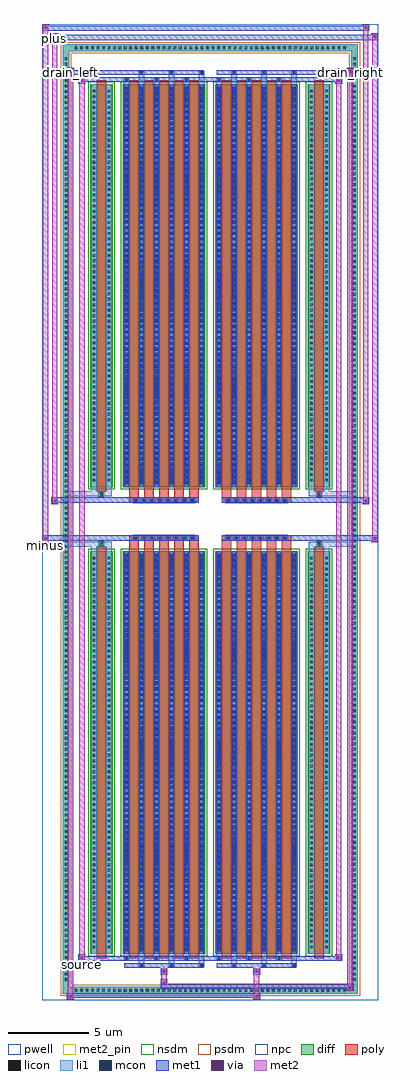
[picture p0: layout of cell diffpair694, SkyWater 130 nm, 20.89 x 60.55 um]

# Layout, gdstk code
import gdstk
lib = gdstk.Library(unit=1e-6, precision=5e-09)
def R(c, l, rs):  # rectangles x0, y0, x1, y1
    for r in rs: c.add(gdstk.rectangle(r[:2], r[2:], *l))
def A(c, l, x, y, w, h, nx, ny, dx, dy):  # array of equal rectangles
    R(c, l, [(x+i*dx, y+j*dy, x+i*dx+w, y+j*dy+h) for i in range(nx) for j in range(ny)])
def P(c, l, *ps):  # polygons
    for p in ps: c.add(gdstk.Polygon(p, *l))
pwell = (64, 44)
diff = (65, 20)
poly = (66, 20)
licon = (66, 44)
li1 = (67, 20)
mcon = (67, 44)
met1 = (68, 20)
via = (68, 44)
met2_pin = (69, 16)
met2 = (69, 20)
nsdm = (93, 44)
psdm = (94, 20)
npc = (95, 20)

diffpair694 = lib.new_cell('diffpair694')
R(diffpair694, pwell, [(-10.43,-29.84,10.43,30.71), (-7.75,-28.03,-0.01,-0.805), (0.01,-28.03,7.75,-0.805), (-7.75,0.805,-0.01,28.03), (0.01,0.805,7.75,28.03)])
A(diffpair694, diff, -8.535, -29.44, 0.41, 0.41, 50, 2, 0.34, 58.47)
A(diffpair694, diff, -9.16, -28.765, 0.41, 0.41, 1, 169, 0, 0.34)
A(diffpair694, diff, 8.75, -28.765, 0.41, 0.41, 1, 169, 0, 0.34)
R(diffpair694, diff, [(-8.535,-29.44,8.535,-29.03), (-9.16,-28.765,-8.75,28.765), (8.75,-28.765,9.16,28.765), (-7.44,-26.985,-6.06,-1.985), (-5.42,-26.985,-0.32,-1.985), (0.32,-26.985,5.42,-1.985), (6.06,-26.985,7.44,-1.985), (-7.44,1.985,-6.06,26.985), (-5.42,1.985,-0.32,26.985), (0.32,1.985,5.42,26.985), (6.06,1.985,7.44,26.985), (-8.535,29.03,8.535,29.44)])
P(diffpair694, diff, [(9.16,29.44),(-9.16,29.44),(-9.16,-29.03),(-8.75,-29.03),(-8.75,29.03),(8.75,29.03),(8.75,-29.03),(-8.75,-29.03),(-9.16,-29.03),(-9.16,-29.44),(9.16,-29.44)])
A(diffpair694, poly, -5.03, -27.235, 0.6, 25.5, 5, 2, 0.93, 28.97)
A(diffpair694, poly, 0.71, -27.235, 0.6, 25.5, 5, 2, 0.93, 28.97)
A(diffpair694, poly, -5.03, -1.735, 0.6, 0.4, 5, 2, 0.93, 3.07)
A(diffpair694, poly, 0.71, -1.735, 0.6, 0.4, 5, 2, 0.93, 3.07)
A(diffpair694, poly, -4.785, -1.335, 0.33, 0.33, 8, 2, 0.5, 2.34)
A(diffpair694, poly, 0.955, -1.335, 0.33, 0.33, 8, 2, 0.5, 2.34)
R(diffpair694, poly, [(-7.05,-27.235,-6.45,-1.735), (6.45,-27.235,7.05,-1.735), (-6.915,-1.735,-6.585,-1.405), (-6.915,-1.735,-6.585,-1.405), (6.585,-1.735,6.915,-1.405), (6.585,-1.735,6.915,-1.405), (-5.03,-1.335,-0.71,-1.005), (0.71,-1.335,5.03,-1.005), (-5.03,1.005,-0.71,1.335), (0.71,1.005,5.03,1.335), (-6.915,1.405,-6.585,1.735), (-6.915,1.405,-6.585,1.735), (6.585,1.405,6.915,1.735), (6.585,1.405,6.915,1.735), (-7.05,1.735,-6.45,27.235), (6.45,1.735,7.05,27.235)])
A(diffpair694, licon, -8.415, -29.32, 0.17, 0.17, 50, 2, 0.34, 58.47)
A(diffpair694, licon, -9.04, -28.645, 0.17, 0.17, 1, 169, 0, 0.34)
A(diffpair694, licon, 8.87, -28.645, 0.17, 0.17, 1, 169, 0, 0.34)
A(diffpair694, licon, -7.3, -26.64, 0.17, 0.17, 1, 72, 0, 0.34)
A(diffpair694, licon, -6.37, -26.64, 0.17, 0.17, 1, 72, 0, 0.34)
A(diffpair694, licon, -5.28, -26.64, 0.17, 0.17, 6, 72, 0.93, 0.34)
A(diffpair694, licon, 0.46, -26.64, 0.17, 0.17, 6, 72, 0.93, 0.34)
A(diffpair694, licon, 6.2, -26.64, 0.17, 0.17, 1, 72, 0, 0.34)
A(diffpair694, licon, 7.13, -26.64, 0.17, 0.17, 1, 72, 0, 0.34)
A(diffpair694, licon, -4.705, -1.255, 0.17, 0.17, 8, 2, 0.5, 2.34)
A(diffpair694, licon, 1.035, -1.255, 0.17, 0.17, 8, 2, 0.5, 2.34)
A(diffpair694, licon, -7.3, 2.33, 0.17, 0.17, 1, 72, 0, 0.34)
A(diffpair694, licon, -6.37, 2.33, 0.17, 0.17, 1, 72, 0, 0.34)
A(diffpair694, licon, -5.28, 2.33, 0.17, 0.17, 6, 72, 0.93, 0.34)
A(diffpair694, licon, 0.46, 2.33, 0.17, 0.17, 6, 72, 0.93, 0.34)
A(diffpair694, licon, 6.2, 2.33, 0.17, 0.17, 1, 72, 0, 0.34)
A(diffpair694, licon, 7.13, 2.33, 0.17, 0.17, 1, 72, 0, 0.34)
R(diffpair694, licon, [(-6.835,-1.655,-6.665,-1.485), (6.665,-1.655,6.835,-1.485), (-6.835,1.485,-6.665,1.655), (6.665,1.485,6.835,1.655)])
A(diffpair694, li1, -8.495, -29.4, 0.33, 0.33, 50, 2, 0.34, 58.47)
A(diffpair694, li1, -9.12, -28.725, 0.33, 0.33, 1, 169, 0, 0.34)
A(diffpair694, li1, 8.79, -28.725, 0.33, 0.33, 1, 169, 0, 0.34)
A(diffpair694, li1, -4.43, -27.79, 0.33, 0.805, 3, 2, 1.86, 54.775)
A(diffpair694, li1, -4.35, -27.79, 0.17, 0.17, 3, 2, 1.86, 55.41)
A(diffpair694, li1, 1.31, -27.79, 0.33, 0.805, 3, 2, 1.86, 54.775)
A(diffpair694, li1, 1.39, -27.79, 0.17, 0.17, 3, 2, 1.86, 55.41)
A(diffpair694, li1, -5.36, -27.36, 0.33, 0.375, 3, 2, 1.86, 54.345)
A(diffpair694, li1, -5.28, -27.36, 0.17, 0.17, 3, 2, 1.86, 54.55)
A(diffpair694, li1, 0.38, -27.36, 0.33, 0.375, 3, 2, 1.86, 54.345)
A(diffpair694, li1, 0.46, -27.36, 0.17, 0.17, 3, 2, 1.86, 54.55)
A(diffpair694, li1, -5.36, -26.985, 0.33, 25, 6, 2, 0.93, 28.97)
A(diffpair694, li1, 0.38, -26.985, 0.33, 25, 6, 2, 0.93, 28.97)
A(diffpair694, li1, -5.28, -26.81, 0.17, 0.17, 6, 69, 0.93, 0.36)
A(diffpair694, li1, -5.28, -26.81, 0.17, 24.65, 6, 2, 0.93, 28.97)
A(diffpair694, li1, 0.46, -26.81, 0.17, 0.17, 6, 69, 0.93, 0.36)
A(diffpair694, li1, 0.46, -26.81, 0.17, 24.65, 6, 2, 0.93, 28.97)
A(diffpair694, li1, -7.38, -26.72, 0.33, 0.33, 1, 72, 0, 0.34)
A(diffpair694, li1, -6.45, -26.72, 0.33, 0.33, 1, 72, 0, 0.34)
A(diffpair694, li1, -5.36, -26.72, 0.33, 0.33, 6, 72, 0.93, 0.34)
A(diffpair694, li1, 0.38, -26.72, 0.33, 0.33, 6, 72, 0.93, 0.34)
A(diffpair694, li1, 6.12, -26.72, 0.33, 0.33, 1, 72, 0, 0.34)
A(diffpair694, li1, 7.05, -26.72, 0.33, 0.33, 1, 72, 0, 0.34)
A(diffpair694, li1, -4.785, -1.335, 0.33, 0.33, 8, 2, 0.5, 2.34)
A(diffpair694, li1, 0.955, -1.335, 0.33, 0.33, 8, 2, 0.5, 2.34)
A(diffpair694, li1, -5.28, 2.16, 0.17, 0.17, 6, 69, 0.93, 0.36)
A(diffpair694, li1, 0.46, 2.16, 0.17, 0.17, 6, 69, 0.93, 0.36)
A(diffpair694, li1, -7.38, 2.25, 0.33, 0.33, 1, 72, 0, 0.34)
A(diffpair694, li1, -6.45, 2.25, 0.33, 0.33, 1, 72, 0, 0.34)
A(diffpair694, li1, -5.36, 2.25, 0.33, 0.33, 6, 72, 0.93, 0.34)
A(diffpair694, li1, 0.38, 2.25, 0.33, 0.33, 6, 72, 0.93, 0.34)
A(diffpair694, li1, 6.12, 2.25, 0.33, 0.33, 1, 72, 0, 0.34)
A(diffpair694, li1, 7.05, 2.25, 0.33, 0.33, 1, 72, 0, 0.34)
R(diffpair694, li1, [(-9.16,-29.44,-8.75,-29.03), (-9.16,-29.44,-8.75,-29.03), (-8.75,-29.44,8.75,-29.03), (8.75,-29.44,9.16,-29.03), (8.75,-29.44,9.16,-29.03), (-9.16,-29.03,-8.75,29.03), (8.75,-29.03,9.16,29.03), (-7.38,-26.985,-7.05,-1.985), (-6.45,-26.985,-6.12,-1.985), (6.12,-26.985,6.45,-1.985), (7.05,-26.985,7.38,-1.985), (-7.38,-1.985,-7.05,-1.405), (-6.45,-1.985,-6.12,-1.405), (6.12,-1.985,6.45,-1.405), (7.05,-1.985,7.38,-1.405), (-9.16,-1.735,-6.915,-1.405), (-7.38,-1.735,-6.915,-1.405), (-6.915,-1.735,-6.585,-1.405), (-6.585,-1.735,-6.12,-1.405), (6.12,-1.735,6.585,-1.405), (6.585,-1.735,6.915,-1.405), (6.585,-1.735,9.16,-1.405), (6.915,-1.735,7.38,-1.405), (-9.16,1.405,-6.915,1.735), (-7.38,1.405,-6.915,1.735), (-7.38,1.405,-7.05,1.985), (-6.915,1.405,-6.585,1.735), (-6.585,1.405,-6.12,1.735), (-6.45,1.405,-6.12,1.985), (6.12,1.405,6.585,1.735), (6.12,1.405,6.45,1.985), (6.585,1.405,6.915,1.735), (6.585,1.405,9.16,1.735), (6.915,1.405,7.38,1.735), (7.05,1.405,7.38,1.985), (-7.38,1.985,-7.05,26.985), (-6.45,1.985,-6.12,26.985), (6.12,1.985,6.45,26.985), (7.05,1.985,7.38,26.985), (-9.16,29.03,-8.75,29.44), (-9.16,29.03,-8.75,29.44), (-8.75,29.03,8.75,29.44), (8.75,29.03,9.16,29.44), (8.75,29.03,9.16,29.44)])
A(diffpair694, mcon, -4.35, -27.79, 0.17, 0.17, 3, 2, 1.86, 55.41)
A(diffpair694, mcon, 1.39, -27.79, 0.17, 0.17, 3, 2, 1.86, 55.41)
A(diffpair694, mcon, -5.28, -27.36, 0.17, 0.17, 3, 2, 1.86, 54.55)
A(diffpair694, mcon, 0.46, -27.36, 0.17, 0.17, 3, 2, 1.86, 54.55)
A(diffpair694, mcon, -5.28, -26.81, 0.17, 0.17, 6, 69, 0.93, 0.36)
A(diffpair694, mcon, 0.46, -26.81, 0.17, 0.17, 6, 69, 0.93, 0.36)
A(diffpair694, mcon, -4.705, -1.255, 0.17, 0.17, 8, 2, 0.5, 2.34)
A(diffpair694, mcon, 1.035, -1.255, 0.17, 0.17, 8, 2, 0.5, 2.34)
A(diffpair694, mcon, -5.28, 2.16, 0.17, 0.17, 6, 69, 0.93, 0.36)
A(diffpair694, mcon, 0.46, 2.16, 0.17, 0.17, 6, 69, 0.93, 0.36)
A(diffpair694, met1, -4.41, -27.85, 0.29, 0.29, 3, 2, 1.86, 55.41)
A(diffpair694, met1, 1.33, -27.85, 0.29, 0.29, 3, 2, 1.86, 55.41)
A(diffpair694, met1, -5.34, -27.42, 0.29, 0.29, 3, 2, 1.86, 54.55)
A(diffpair694, met1, 0.4, -27.42, 0.29, 0.29, 3, 2, 1.86, 54.55)
A(diffpair694, met1, -5.34, -26.985, 0.29, 25, 6, 2, 0.93, 28.97)
A(diffpair694, met1, 0.4, -26.985, 0.29, 25, 6, 2, 0.93, 28.97)
A(diffpair694, met1, -5.34, -26.87, 0.29, 0.29, 6, 69, 0.93, 0.36)
A(diffpair694, met1, 0.4, -26.87, 0.29, 0.29, 6, 69, 0.93, 0.36)
A(diffpair694, met1, -4.765, -1.315, 0.29, 0.29, 8, 2, 0.5, 2.34)
A(diffpair694, met1, 0.975, -1.315, 0.29, 0.29, 8, 2, 0.5, 2.34)
A(diffpair694, met1, -5.34, 2.1, 0.29, 0.29, 6, 69, 0.93, 0.36)
A(diffpair694, met1, 0.4, 2.1, 0.29, 0.29, 6, 69, 0.93, 0.36)
R(diffpair694, met1, [(-8.89,-29.84,-8.46,-29.41), (2.655,-29.84,3.085,-29.41), (-8.89,-29.7,3.085,-29.41), (8.46,-29.27,8.89,-28.84), (-3.085,-29.13,8.89,-28.84), (-3.085,-28.99,-2.655,-28.56), (-3.085,-28.28,-2.655,-27.85), (2.655,-28.28,3.085,-27.85), (-5.34,-27.85,-0.4,-27.56), (0.4,-27.85,5.34,-27.56), (-8.18,-27.42,-7.75,-26.99), (-8.18,-27.42,-5.34,-27.13), (-5.34,-27.42,-0.4,-27.13), (-0.4,-27.42,0.4,-27.13), (0.4,-27.42,5.34,-27.13), (5.34,-27.42,8.18,-27.13), (7.75,-27.42,8.18,-26.99), (-10.43,-1.435,-10,-1.005), (10,-1.435,10.43,-1.005), (-10.43,-1.335,-0.71,-1.005), (-5.03,-1.335,-0.71,-1.005), (0.71,-1.335,5.03,-1.005), (0.71,-1.335,10.43,-1.005), (-9.86,0.905,-9.43,1.335), (9.43,0.905,9.86,1.335), (-9.86,1.005,-5.03,1.335), (-5.03,1.005,-0.71,1.335), (0.71,1.005,5.03,1.335), (5.03,1.005,9.86,1.335), (-8.18,26.99,-7.75,27.42), (7.75,26.99,8.18,27.42), (-8.18,27.13,-5.34,27.42), (-5.34,27.13,-0.4,27.42), (-0.4,27.13,0.4,27.42), (0.4,27.13,5.34,27.42), (5.34,27.13,8.18,27.42), (-8.89,27.56,-8.46,27.99), (-8.89,27.56,-5.34,27.85), (-5.34,27.56,-0.4,27.85), (0.4,27.56,5.34,27.85), (5.34,27.56,8.89,27.85), (8.46,27.56,8.89,27.99), (-9.86,29.71,-9.43,30.14), (-9.86,29.71,-7.75,30.04), (-7.75,29.71,7.75,30.04), (7.75,29.71,10.43,30.04), (10,29.71,10.43,30.14), (-10.43,30.28,-10,30.71), (-10.43,30.28,-7.75,30.61), (-7.75,30.28,7.75,30.61), (7.75,30.28,9.86,30.61), (9.43,30.28,9.86,30.71)])
R(diffpair694, via, [(-8.75,-29.7,-8.6,-29.55), (2.795,-29.7,2.945,-29.55), (8.6,-29.13,8.75,-28.98), (-2.945,-28.85,-2.795,-28.7), (-2.945,-28.14,-2.795,-27.99), (2.795,-28.14,2.945,-27.99), (-8.04,-27.28,-7.89,-27.13), (7.89,-27.28,8.04,-27.13), (-10.29,-1.295,-10.14,-1.145), (10.14,-1.295,10.29,-1.145), (-9.72,1.045,-9.57,1.195), (9.57,1.045,9.72,1.195), (-8.04,27.13,-7.89,27.28), (7.89,27.13,8.04,27.28), (-8.75,27.7,-8.6,27.85), (8.6,27.7,8.75,27.85), (-9.72,29.85,-9.57,30), (10.14,29.85,10.29,30), (-10.29,30.42,-10.14,30.57), (9.57,30.42,9.72,30.57)])
R(diffpair694, met2_pin, [(-8.215,-27.87,-7.715,-27.37), (-10.465,-1.885,-9.965,-1.385), (-8.925,27.44,-8.425,27.94), (8.425,27.44,8.925,27.94), (-9.895,29.59,-9.395,30.09)])
R(diffpair694, met2, [(-8.84,-29.79,-8.51,-29.46), (-8.84,-29.79,-8.51,27.94), (2.705,-29.79,3.035,-29.46), (2.705,-29.46,3.035,-28.23), (8.51,-29.22,8.84,-28.89), (8.51,-29.22,8.84,27.94), (-3.035,-28.94,-2.705,-28.61), (-3.035,-28.61,-2.705,-28.23), (-3.035,-28.23,-2.705,-27.9), (2.705,-28.23,3.035,-27.9), (-8.13,-27.37,-7.8,-27.04), (-8.13,-27.37,-7.8,27.37), (7.8,-27.37,8.13,-27.04), (7.8,-27.37,8.13,27.37), (-10.38,-1.385,-10.05,-1.055), (-10.38,-1.385,-10.05,30.66), (10.05,-1.385,10.38,-1.055), (10.05,-1.385,10.38,30.09), (-9.81,0.955,-9.48,1.285), (-9.81,0.955,-9.48,30.09), (9.48,0.955,9.81,1.285), (9.48,0.955,9.81,30.66), (-8.13,27.04,-7.8,27.37), (7.8,27.04,8.13,27.37), (-8.84,27.61,-8.51,27.94), (8.51,27.61,8.84,27.94), (-9.81,29.76,-9.48,30.09), (10.05,29.76,10.38,30.09), (-10.38,30.33,-10.05,30.66), (9.48,30.33,9.81,30.66)])
P(diffpair694, met2, [(10.38,-1.385),(10.38,-1.385),(10.38,-1.055),(10.38,-1.055)],
  [(10.38,29.76),(10.38,29.76),(10.38,30.09),(10.38,30.09)],
  [(-10.05,-1.385),(-10.05,-1.385),(-10.05,-1.055),(-10.05,-1.055)],
  [(-10.05,30.33),(-10.05,30.33),(-10.05,30.66),(-10.05,30.66)],
  [(9.81,0.955),(9.81,0.955),(9.81,1.285),(9.81,1.285)],
  [(9.81,30.33),(9.81,30.33),(9.81,30.66),(9.81,30.66)],
  [(-9.48,0.955),(-9.48,0.955),(-9.48,1.285),(-9.48,1.285)],
  [(-9.48,29.76),(-9.48,29.76),(-9.48,30.09),(-9.48,30.09)],
  [(-8.51,-29.79),(-8.51,-29.79),(-8.51,-29.46),(-8.51,-29.46)],
  [(-8.51,27.61),(-8.51,27.61),(-8.51,27.94),(-8.51,27.94)],
  [(8.84,-29.22),(8.84,-29.22),(8.84,-28.89),(8.84,-28.89)],
  [(8.84,27.61),(8.84,27.61),(8.84,27.94),(8.84,27.94)],
  [(-7.8,-27.37),(-7.8,-27.37),(-7.8,-27.04),(-7.8,-27.04)],
  [(-7.8,27.04),(-7.8,27.04),(-7.8,27.37),(-7.8,27.37)],
  [(8.13,-27.37),(8.13,-27.37),(8.13,-27.04),(8.13,-27.04)],
  [(8.13,27.04),(8.13,27.04),(8.13,27.37),(8.13,27.37)])
R(diffpair694, nsdm, [(-7.57,-27.115,-5.93,-1.855), (-5.55,-27.115,-0.19,-1.855), (0.19,-27.115,5.55,-1.855), (5.93,-27.115,7.57,-1.855), (-7.57,1.855,-5.93,27.115), (-5.55,1.855,-0.19,27.115), (0.19,1.855,5.55,27.115), (5.93,1.855,7.57,27.115)])
P(diffpair694, psdm, [(9.29,29.57),(-9.29,29.57),(-9.29,-28.9),(-8.62,-28.9),(-8.62,28.9),(8.62,28.9),(8.62,-28.9),(-8.62,-28.9),(-9.29,-28.9),(-9.29,-29.57),(9.29,-29.57)])
A(diffpair694, npc, -4.805, -1.355, 0.37, 0.37, 8, 2, 0.5, 2.34)
A(diffpair694, npc, 0.935, -1.355, 0.37, 0.37, 8, 2, 0.5, 2.34)
R(diffpair694, npc, [(-6.935,-1.755,-6.565,-1.385), (6.565,-1.755,6.935,-1.385), (-4.805,-1.355,-3.935,-0.985), (-4.805,-1.355,-3.935,-0.985), (-4.305,-1.355,-3.435,-0.985), (-4.305,-1.355,-3.435,-0.985), (-3.805,-1.355,-2.935,-0.985), (-3.805,-1.355,-2.935,-0.985), (-3.305,-1.355,-2.435,-0.985), (-3.305,-1.355,-2.435,-0.985), (-2.805,-1.355,-1.935,-0.985), (-2.805,-1.355,-1.935,-0.985), (-2.305,-1.355,-1.435,-0.985), (-2.305,-1.355,-1.435,-0.985), (-1.805,-1.355,-0.935,-0.985), (-1.805,-1.355,-0.935,-0.985), (0.935,-1.355,1.805,-0.985), (0.935,-1.355,1.805,-0.985), (1.435,-1.355,2.305,-0.985), (1.435,-1.355,2.305,-0.985), (1.935,-1.355,2.805,-0.985), (1.935,-1.355,2.805,-0.985), (2.435,-1.355,3.305,-0.985), (2.435,-1.355,3.305,-0.985), (2.935,-1.355,3.805,-0.985), (2.935,-1.355,3.805,-0.985), (3.435,-1.355,4.305,-0.985), (3.435,-1.355,4.305,-0.985), (3.935,-1.355,4.805,-0.985), (3.935,-1.355,4.805,-0.985), (-4.805,0.985,-3.935,1.355), (-4.805,0.985,-3.935,1.355), (-4.305,0.985,-3.435,1.355), (-4.305,0.985,-3.435,1.355), (-3.805,0.985,-2.935,1.355), (-3.805,0.985,-2.935,1.355), (-3.305,0.985,-2.435,1.355), (-3.305,0.985,-2.435,1.355), (-2.805,0.985,-1.935,1.355), (-2.805,0.985,-1.935,1.355), (-2.305,0.985,-1.435,1.355), (-2.305,0.985,-1.435,1.355), (-1.805,0.985,-0.935,1.355), (-1.805,0.985,-0.935,1.355), (0.935,0.985,1.805,1.355), (0.935,0.985,1.805,1.355), (1.435,0.985,2.305,1.355), (1.435,0.985,2.305,1.355), (1.935,0.985,2.805,1.355), (1.935,0.985,2.805,1.355), (2.435,0.985,3.305,1.355), (2.435,0.985,3.305,1.355), (2.935,0.985,3.805,1.355), (2.935,0.985,3.805,1.355), (3.435,0.985,4.305,1.355), (3.435,0.985,4.305,1.355), (3.935,0.985,4.805,1.355), (3.935,0.985,4.805,1.355), (-6.935,1.385,-6.565,1.755), (6.565,1.385,6.935,1.755)])
diffpair694.add(gdstk.Label('minus', (-10.215,-1.635), layer=69, texttype=5))
diffpair694.add(gdstk.Label('drain_right', (8.675,27.69), layer=69, texttype=5))
diffpair694.add(gdstk.Label('drain_left', (-8.675,27.69), layer=69, texttype=5))
diffpair694.add(gdstk.Label('source', (-7.965,-27.62), layer=69, texttype=5))
diffpair694.add(gdstk.Label('plus', (-9.645,29.84), layer=69, texttype=5))

lib.write_gds('diffpair694.gds')
